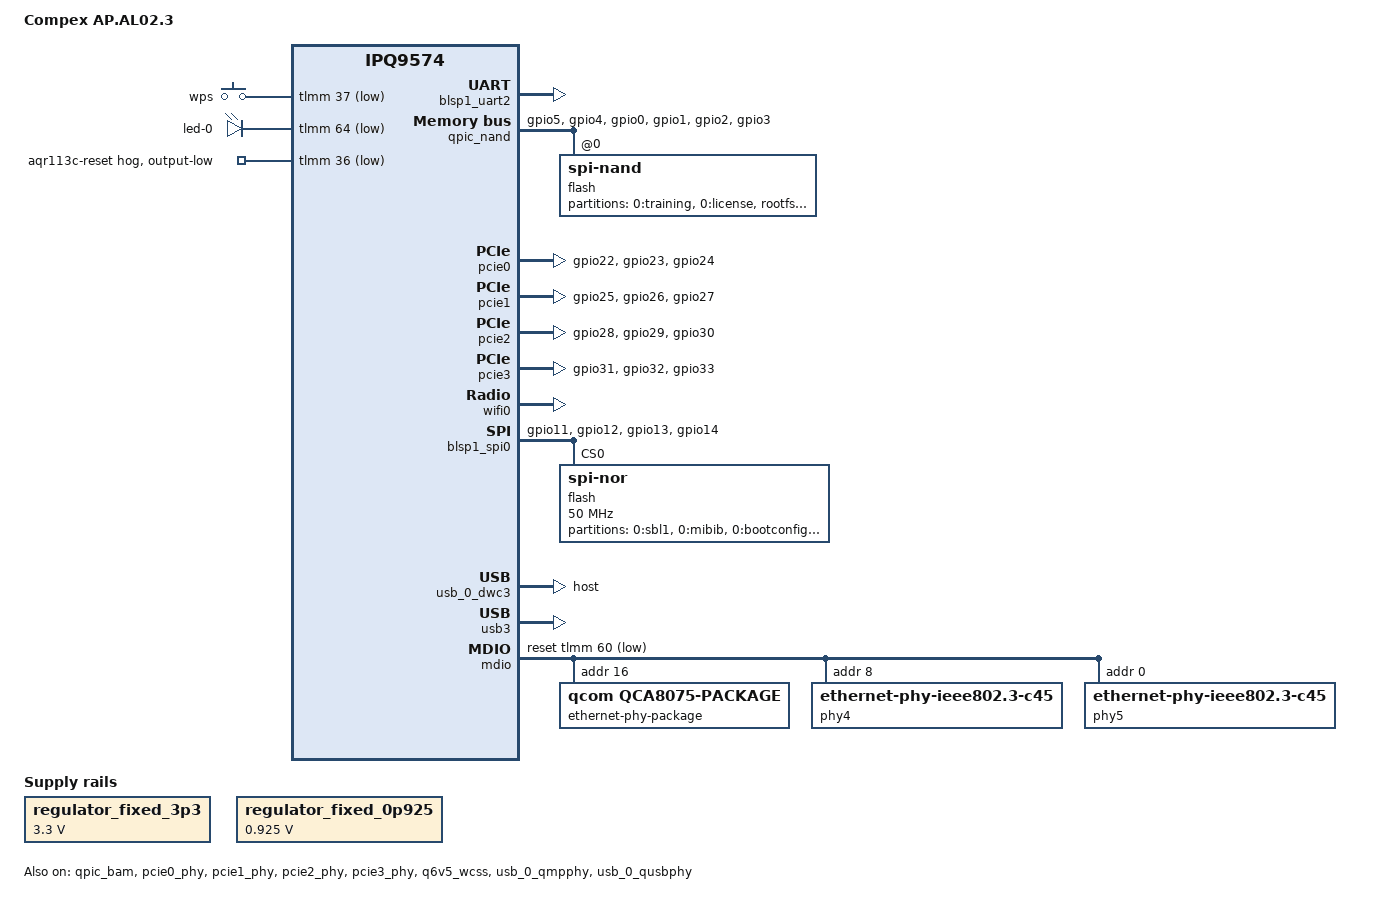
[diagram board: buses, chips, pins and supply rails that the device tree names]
// SPDX-License-Identifier: (GPL-2.0+ OR BSD-3-Clause)
/*
 * Compex AP.AL02.3 board device tree source
 *
 * IPQ9574 (AP-AL02-C16 reference design variant) embedded board with
 * 4x 1GbE (QCA8075, PSGMII), 2x 10GbE (AQR113C, USXGMII), the SoC-internal
 * 2.4 GHz radio and four M.2 E-key PCIe slots (Qualcomm module pinout).
 * The SFP cage (wired to the QCA8075 combo port, 1G only and shared with
 * lan5) is not supported.
 *
 * Copyright (c) 2020-2021 The Linux Foundation. All rights reserved.
 * Copyright (c) 2023-2024, Qualcomm Innovation Center, Inc. All rights reserved.
 * Copyright (c) 2026 Ladislav Laska <krakonos@krakonos.org>
 */

/dts-v1/;

#include <dt-bindings/gpio/gpio.h>
#include <dt-bindings/input/input.h>
#include <dt-bindings/leds/common.h>
#include "ipq9574.dtsi"

/ {
	model = "Compex AP.AL02.3";
	compatible = "compex,ap-al02-3", "qcom,ipq9574";

	aliases {
		serial0 = &blsp1_uart2;
	};

	chosen {
		stdout-path = "serial0:115200n8";
		/* bootipq passes root=mtd:ubi_rootfs, the QSDK volume name */
		bootargs-append = " root=/dev/ubiblock0_1";
	};

	regulator_fixed_3p3: s3300 {
		compatible = "regulator-fixed";
		regulator-min-microvolt = <3300000>;
		regulator-max-microvolt = <3300000>;
		regulator-boot-on;
		regulator-always-on;
		regulator-name = "fixed_3p3";
	};

	regulator_fixed_0p925: s0925 {
		compatible = "regulator-fixed";
		regulator-min-microvolt = <925000>;
		regulator-max-microvolt = <925000>;
		regulator-boot-on;
		regulator-always-on;
		regulator-name = "fixed_0p925";
	};

	/* The WPS key and the LED sit on an external board behind FFC J19. */
	gpio-keys {
		compatible = "gpio-keys";
		pinctrl-0 = <&gpio_keys_default>;
		pinctrl-names = "default";

		button-wps {
			label = "wps";
			linux,code = <KEY_WPS_BUTTON>;
			gpios = <&tlmm 37 GPIO_ACTIVE_LOW>;
			debounce-interval = <60>;
		};
	};

	leds {
		compatible = "gpio-leds";
		pinctrl-0 = <&gpio_leds_default>;
		pinctrl-names = "default";

		led-0 {
			function = LED_FUNCTION_WLAN_2GHZ;
			gpios = <&tlmm 64 GPIO_ACTIVE_LOW>;
			default-state = "off";
		};
	};
};

&blsp1_uart2 {
	pinctrl-0 = <&uart2_pins>;
	pinctrl-names = "default";
	status = "okay";
};

/*
 * Only s1 is listed. The RDP433 LDO map does not apply to this board: its
 * RPM rejects l5 (-ENXIO), and requesting l2 at 1.8V kills the UNIPHY
 * SerDes (no traffic on any port). The vendor firmware leaves both alone.
 */
&rpm_requests {
	regulators {
		compatible = "qcom,rpm-mp5496-regulators";

		ipq9574_s1: s1 {
			regulator-min-microvolt = <725000>;
			regulator-max-microvolt = <1075000>;
		};
	};
};

&sleep_clk {
	clock-frequency = <32000>;
};

&ref_48mhz_clk {
	clock-div = <1>;
	clock-mult = <1>;
};

/*
 * xo_board_clk is fixed at 24 MHz, routed from the 48 MHz WiFi output
 * clock divided by 2.
 */
&xo_board_clk {
	clock-div = <2>;
	clock-mult = <1>;
};

&xo_clk {
	clock-frequency = <48000000>;
};

&tlmm {
	spi_0_pins: spi-0-state {
		pins = "gpio11", "gpio12", "gpio13", "gpio14";
		function = "blsp0_spi";
		drive-strength = <8>;
		bias-disable;
	};

	gpio_keys_default: gpio-keys-default-state {
		pins = "gpio37";
		function = "gpio";
		drive-strength = <8>;
		bias-pull-up;
	};

	gpio_leds_default: gpio-leds-default-state {
		pins = "gpio64";
		function = "gpio";
		drive-strength = <8>;
		bias-pull-up;
	};

	/*
	 * gpio36 resets both AQR113C. U-Boot loads their firmware; asserting
	 * the reset drops it and the driver then reloads it from 0:ethphyfw
	 * (about 10 s per PHY), so hold it released instead.
	 */
	aqr-reset-hog {
		gpio-hog;
		gpios = <36 GPIO_ACTIVE_LOW>;
		output-low;
		line-name = "aqr113c-reset";
	};

	qpic_snand_default_state: qpic-snand-default-state {
		clock-pins {
			pins = "gpio5";
			function = "qspi_clk";
			drive-strength = <8>;
			bias-disable;
		};

		cs-pins {
			pins = "gpio4";
			function = "qspi_cs";
			drive-strength = <8>;
			bias-disable;
		};

		data-pins {
			pins = "gpio0", "gpio1", "gpio2", "gpio3";
			function = "qspi_data";
			drive-strength = <8>;
			bias-disable;
		};
	};

	pcie0_default: pcie0-default-state {
		clkreq-n-pins {
			pins = "gpio22";
			function = "pcie0_clk";
			drive-strength = <6>;
			bias-pull-up;
		};

		perst-n-pins {
			pins = "gpio23";
			function = "gpio";
			drive-strength = <8>;
			bias-pull-down;
			output-low;
		};

		wake-n-pins {
			pins = "gpio24";
			function = "pcie0_wake";
			drive-strength = <6>;
			bias-pull-up;
		};
	};

	pcie1_default: pcie1-default-state {
		clkreq-n-pins {
			pins = "gpio25";
			function = "pcie1_clk";
			drive-strength = <6>;
			bias-pull-up;
		};

		perst-n-pins {
			pins = "gpio26";
			function = "gpio";
			drive-strength = <8>;
			bias-pull-down;
			output-low;
		};

		wake-n-pins {
			pins = "gpio27";
			function = "pcie1_wake";
			drive-strength = <6>;
			bias-pull-up;
		};
	};

	pcie2_default: pcie2-default-state {
		clkreq-n-pins {
			pins = "gpio28";
			function = "pcie2_clk";
			drive-strength = <6>;
			bias-pull-up;
		};

		perst-n-pins {
			pins = "gpio29";
			function = "gpio";
			drive-strength = <8>;
			bias-pull-down;
			output-low;
		};

		wake-n-pins {
			pins = "gpio30";
			function = "pcie2_wake";
			drive-strength = <6>;
			bias-pull-up;
		};
	};

	pcie3_default: pcie3-default-state {
		clkreq-n-pins {
			pins = "gpio31";
			function = "pcie3_clk";
			drive-strength = <6>;
			bias-pull-up;
		};

		perst-n-pins {
			pins = "gpio32";
			function = "gpio";
			drive-strength = <8>;
			bias-pull-up;
			output-low;
		};

		wake-n-pins {
			pins = "gpio33";
			function = "pcie3_wake";
			drive-strength = <6>;
			bias-pull-up;
		};
	};
};

&qpic_bam {
	status = "okay";
};

&qpic_nand {
	pinctrl-0 = <&qpic_snand_default_state>;
	pinctrl-names = "default";
	status = "okay";

	flash@0 {
		compatible = "spi-nand";
		reg = <0>;
		#address-cells = <1>;
		#size-cells = <1>;
		nand-ecc-engine = <&qpic_nand>;
		nand-ecc-strength = <4>;
		nand-ecc-step-size = <512>;

		partitions {
			compatible = "fixed-partitions";
			#address-cells = <1>;
			#size-cells = <1>;

			partition@0 {
				label = "0:training";
				reg = <0x0 0x80000>;
				read-only;
			};

			partition@80000 {
				label = "0:license";
				reg = <0x80000 0x40000>;
				read-only;
			};

			partition@c0000 {
				label = "rootfs";
				reg = <0xc0000 0x3c00000>;
			};

			partition@3cc0000 {
				label = "rootfs_1";
				reg = <0x3cc0000 0x3c00000>;
			};
		};
	};
};

/*
 * Four M.2 E-key slots, all empty on this unit:
 *   pcie0 (gpio22/23/24) - J3, x1
 *   pcie1 (gpio25/26/27) - J5, x1
 *   pcie2 (gpio28/29/30) - J6, x2
 *   pcie3 (gpio31/32/33) - J4, x2
 */
&pcie0_phy {
	status = "okay";
};

&pcie0 {
	pinctrl-0 = <&pcie0_default>;
	pinctrl-names = "default";
	perst-gpios = <&tlmm 23 GPIO_ACTIVE_LOW>;
	wake-gpios = <&tlmm 24 GPIO_ACTIVE_LOW>;
	status = "okay";
};

&pcie1_phy {
	status = "okay";
};

&pcie1 {
	pinctrl-0 = <&pcie1_default>;
	pinctrl-names = "default";
	perst-gpios = <&tlmm 26 GPIO_ACTIVE_LOW>;
	wake-gpios = <&tlmm 27 GPIO_ACTIVE_LOW>;
	status = "okay";
};

&pcie2_phy {
	status = "okay";
};

&pcie2 {
	pinctrl-0 = <&pcie2_default>;
	pinctrl-names = "default";
	perst-gpios = <&tlmm 29 GPIO_ACTIVE_LOW>;
	wake-gpios = <&tlmm 30 GPIO_ACTIVE_LOW>;
	status = "okay";
};

&pcie3_phy {
	status = "okay";
};

&pcie3 {
	pinctrl-0 = <&pcie3_default>;
	pinctrl-names = "default";
	perst-gpios = <&tlmm 32 GPIO_ACTIVE_LOW>;
	wake-gpios = <&tlmm 33 GPIO_ACTIVE_LOW>;
	status = "okay";
};

/*
 * SoC-integrated 2.4 GHz radio, four U.FL (I-PEX MHF1) connectors CH0-CH3 = chains 0-3
 * (antenna mask 0x1, 0x2, 0x4, 0x8)
 */
&q6v5_wcss {
	status = "okay";
};

&wifi0 {
	qcom,ath11k-calibration-variant = "Compex-AP-AL02.3";
	status = "okay";
};

&blsp1_spi0 {
	pinctrl-0 = <&spi_0_pins>;
	pinctrl-names = "default";
	status = "okay";

	flash@0 {
		compatible = "jedec,spi-nor";
		reg = <0>;
		#address-cells = <1>;
		#size-cells = <1>;
		spi-max-frequency = <50000000>;

		partitions {
			compatible = "fixed-partitions";
			#address-cells = <1>;
			#size-cells = <1>;

			partition@0 {
				label = "0:sbl1";
				reg = <0x0 0xc0000>;
				read-only;
			};

			partition@c0000 {
				label = "0:mibib";
				reg = <0xc0000 0x10000>;
				read-only;
			};

			partition@d0000 {
				label = "0:bootconfig";
				reg = <0xd0000 0x20000>;
				read-only;
			};

			partition@f0000 {
				label = "0:bootconfig1";
				reg = <0xf0000 0x20000>;
				read-only;
			};

			partition@110000 {
				label = "0:qsee";
				reg = <0x110000 0x180000>;
				read-only;
			};

			partition@290000 {
				label = "0:qsee_1";
				reg = <0x290000 0x180000>;
				read-only;
			};

			partition@410000 {
				label = "0:devcfg";
				reg = <0x410000 0x10000>;
				read-only;
			};

			partition@420000 {
				label = "0:devcfg_1";
				reg = <0x420000 0x10000>;
				read-only;
			};

			partition@430000 {
				label = "0:apdp";
				reg = <0x430000 0x10000>;
				read-only;
			};

			partition@440000 {
				label = "0:apdp_1";
				reg = <0x440000 0x10000>;
				read-only;
			};

			partition@450000 {
				label = "0:tme";
				reg = <0x450000 0x40000>;
				read-only;
			};

			partition@490000 {
				label = "0:tme_1";
				reg = <0x490000 0x40000>;
				read-only;
			};

			partition@4d0000 {
				label = "0:rpm";
				reg = <0x4d0000 0x20000>;
				read-only;
			};

			partition@4f0000 {
				label = "0:rpm_1";
				reg = <0x4f0000 0x20000>;
				read-only;
			};

			partition@510000 {
				label = "0:cdt";
				reg = <0x510000 0x10000>;
				read-only;
			};

			partition@520000 {
				label = "0:cdt_1";
				reg = <0x520000 0x10000>;
				read-only;
			};

			partition@530000 {
				label = "0:appsblenv";
				reg = <0x530000 0x10000>;
			};

			partition@540000 {
				label = "0:appsbl";
				reg = <0x540000 0xa0000>;
				read-only;
			};

			partition@5e0000 {
				label = "0:appsbl_1";
				reg = <0x5e0000 0xa0000>;
				read-only;
			};

			/*
			 * The ethernet MAC slots at the start of ART are blank and
			 * U-Boot's ethaddr is the generic 00:03:7f:ba:db:ad. The
			 * only per-unit address is the radio MAC in the 2.4 GHz
			 * calibration data, so the ports are derived from it.
			 */
			partition@680000 {
				label = "0:art";
				reg = <0x680000 0x100000>;
				read-only;

				nvmem-layout {
					compatible = "fixed-layout";
					#address-cells = <1>;
					#size-cells = <1>;

					macaddr_art_100e: macaddr@100e {
						compatible = "mac-base";
						reg = <0x100e 0x6>;
						#nvmem-cell-cells = <1>;
					};
				};
			};

			partition@780000 {
				label = "0:ethphyfw";
				reg = <0x780000 0x80000>;
				read-only;

				nvmem-layout {
					compatible = "fixed-layout";

					/* AQR113C firmware image behind a 40-byte U-Boot header */
					aqr_fw: aqr-fw@28 {
						reg = <0x28 0x5f802>;
					};
				};
			};
		};
	};
};

&usb_0_dwc3 {
	dr_mode = "host";
};

/* No vdda-pll-supply: the PLL rail is left as the bootloader set it. */
&usb_0_qmpphy {
	vdda-phy-supply = <&regulator_fixed_0p925>;
	status = "okay";
};

&usb_0_qusbphy {
	vdd-supply = <&regulator_fixed_0p925>;
	vdda-phy-dpdm-supply = <&regulator_fixed_3p3>;
	status = "okay";
};

&usb3 {
	status = "okay";
};

&mdio {
	reset-gpios = <&tlmm 60 GPIO_ACTIVE_LOW>;
	clock-frequency = <6250000>;
	status = "okay";

	ethernet-phy-package@0 {
		compatible = "qcom,qca8075-package";
		#address-cells = <1>;
		#size-cells = <0>;
		reg = <0x10>;
		qcom,package-mode = "psgmii";

		phy0: ethernet-phy@10 {
			reg = <0x10>;
		};

		phy1: ethernet-phy@11 {
			reg = <0x11>;
		};

		phy2: ethernet-phy@12 {
			reg = <0x12>;
		};

		phy3: ethernet-phy@13 {
			reg = <0x13>;
		};
	};

	phy4: ethernet-phy@8 {
		compatible = "ethernet-phy-ieee802.3-c45";
		reg = <8>;
		nvmem-cells = <&aqr_fw>;
		nvmem-cell-names = "firmware";
	};

	phy5: ethernet-phy@0 {
		compatible = "ethernet-phy-ieee802.3-c45";
		reg = <0>;
		nvmem-cells = <&aqr_fw>;
		nvmem-cell-names = "firmware";
	};
};

&qcom_ppe {
	ethernet-ports {
		#address-cells = <1>;
		#size-cells = <0>;

		port@1 {
			reg = <1>;
			phy-mode = "psgmii";
			managed = "in-band-status";
			label = "lan1";
			phy-handle = <&phy0>;
			nvmem-cells = <&macaddr_art_100e 1>;
			nvmem-cell-names = "mac-address";
			pcs-handle = <&pcs0_ch0>;
			clocks = <&nsscc NSS_CC_PORT1_MAC_CLK>,
				 <&nsscc NSS_CC_PORT1_RX_CLK>,
				 <&nsscc NSS_CC_PORT1_TX_CLK>;
			clock-names = "mac",
				      "rx",
				      "tx";
			resets = <&nsscc PORT1_MAC_ARES>,
				 <&nsscc PORT1_RX_ARES>,
				 <&nsscc PORT1_TX_ARES>;
			reset-names = "mac",
				      "rx",
				      "tx";
		};

		port@2 {
			reg = <2>;
			phy-mode = "psgmii";
			managed = "in-band-status";
			label = "lan2";
			phy-handle = <&phy1>;
			nvmem-cells = <&macaddr_art_100e 1>;
			nvmem-cell-names = "mac-address";
			pcs-handle = <&pcs0_ch1>;
			clocks = <&nsscc NSS_CC_PORT2_MAC_CLK>,
				 <&nsscc NSS_CC_PORT2_RX_CLK>,
				 <&nsscc NSS_CC_PORT2_TX_CLK>;
			clock-names = "mac",
				      "rx",
				      "tx";
			resets = <&nsscc PORT2_MAC_ARES>,
				 <&nsscc PORT2_RX_ARES>,
				 <&nsscc PORT2_TX_ARES>;
			reset-names = "mac",
				      "rx",
				      "tx";
		};

		port@3 {
			reg = <3>;
			phy-mode = "psgmii";
			managed = "in-band-status";
			label = "lan3";
			phy-handle = <&phy2>;
			nvmem-cells = <&macaddr_art_100e 1>;
			nvmem-cell-names = "mac-address";
			pcs-handle = <&pcs0_ch2>;
			clocks = <&nsscc NSS_CC_PORT3_MAC_CLK>,
				 <&nsscc NSS_CC_PORT3_RX_CLK>,
				 <&nsscc NSS_CC_PORT3_TX_CLK>;
			clock-names = "mac",
				      "rx",
				      "tx";
			resets = <&nsscc PORT3_MAC_ARES>,
				 <&nsscc PORT3_RX_ARES>,
				 <&nsscc PORT3_TX_ARES>;
			reset-names = "mac",
				      "rx",
				      "tx";
		};

		port@4 {
			reg = <4>;
			phy-mode = "psgmii";
			managed = "in-band-status";
			label = "lan4";
			phy-handle = <&phy3>;
			nvmem-cells = <&macaddr_art_100e 1>;
			nvmem-cell-names = "mac-address";
			pcs-handle = <&pcs0_ch3>;
			clocks = <&nsscc NSS_CC_PORT4_MAC_CLK>,
				 <&nsscc NSS_CC_PORT4_RX_CLK>,
				 <&nsscc NSS_CC_PORT4_TX_CLK>;
			clock-names = "mac",
				      "rx",
				      "tx";
			resets = <&nsscc PORT4_MAC_ARES>,
				 <&nsscc PORT4_RX_ARES>,
				 <&nsscc PORT4_TX_ARES>;
			reset-names = "mac",
				      "rx",
				      "tx";
		};

		port@5 {
			reg = <5>;
			phy-mode = "usxgmii";
			/*
			 * In-band USXGMII AN is required: in PHY mode phylink
			 * disables USX AN on the AQR113C and no data passes.
			 */
			managed = "in-band-status";
			label = "lan5";
			phy-handle = <&phy4>;
			nvmem-cells = <&macaddr_art_100e 1>;
			nvmem-cell-names = "mac-address";
			pcs-handle = <&pcs1_ch0>;
			clocks = <&nsscc NSS_CC_PORT5_MAC_CLK>,
				 <&nsscc NSS_CC_PORT5_RX_CLK>,
				 <&nsscc NSS_CC_PORT5_TX_CLK>;
			clock-names = "mac",
				      "rx",
				      "tx";
			resets = <&nsscc PORT5_MAC_ARES>,
				 <&nsscc PORT5_RX_ARES>,
				 <&nsscc PORT5_TX_ARES>;
			reset-names = "mac",
				      "rx",
				      "tx";
		};

		port@6 {
			reg = <6>;
			phy-mode = "usxgmii";
			managed = "in-band-status";
			label = "wan";
			phy-handle = <&phy5>;
			nvmem-cells = <&macaddr_art_100e 2>;
			nvmem-cell-names = "mac-address";
			pcs-handle = <&pcs2_ch0>;
			clocks = <&nsscc NSS_CC_PORT6_MAC_CLK>,
				 <&nsscc NSS_CC_PORT6_RX_CLK>,
				 <&nsscc NSS_CC_PORT6_TX_CLK>;
			clock-names = "mac",
				      "rx",
				      "tx";
			resets = <&nsscc PORT6_MAC_ARES>,
				 <&nsscc PORT6_RX_ARES>,
				 <&nsscc PORT6_TX_ARES>;
			reset-names = "mac",
				      "rx",
				      "tx";
		};
	};
};
